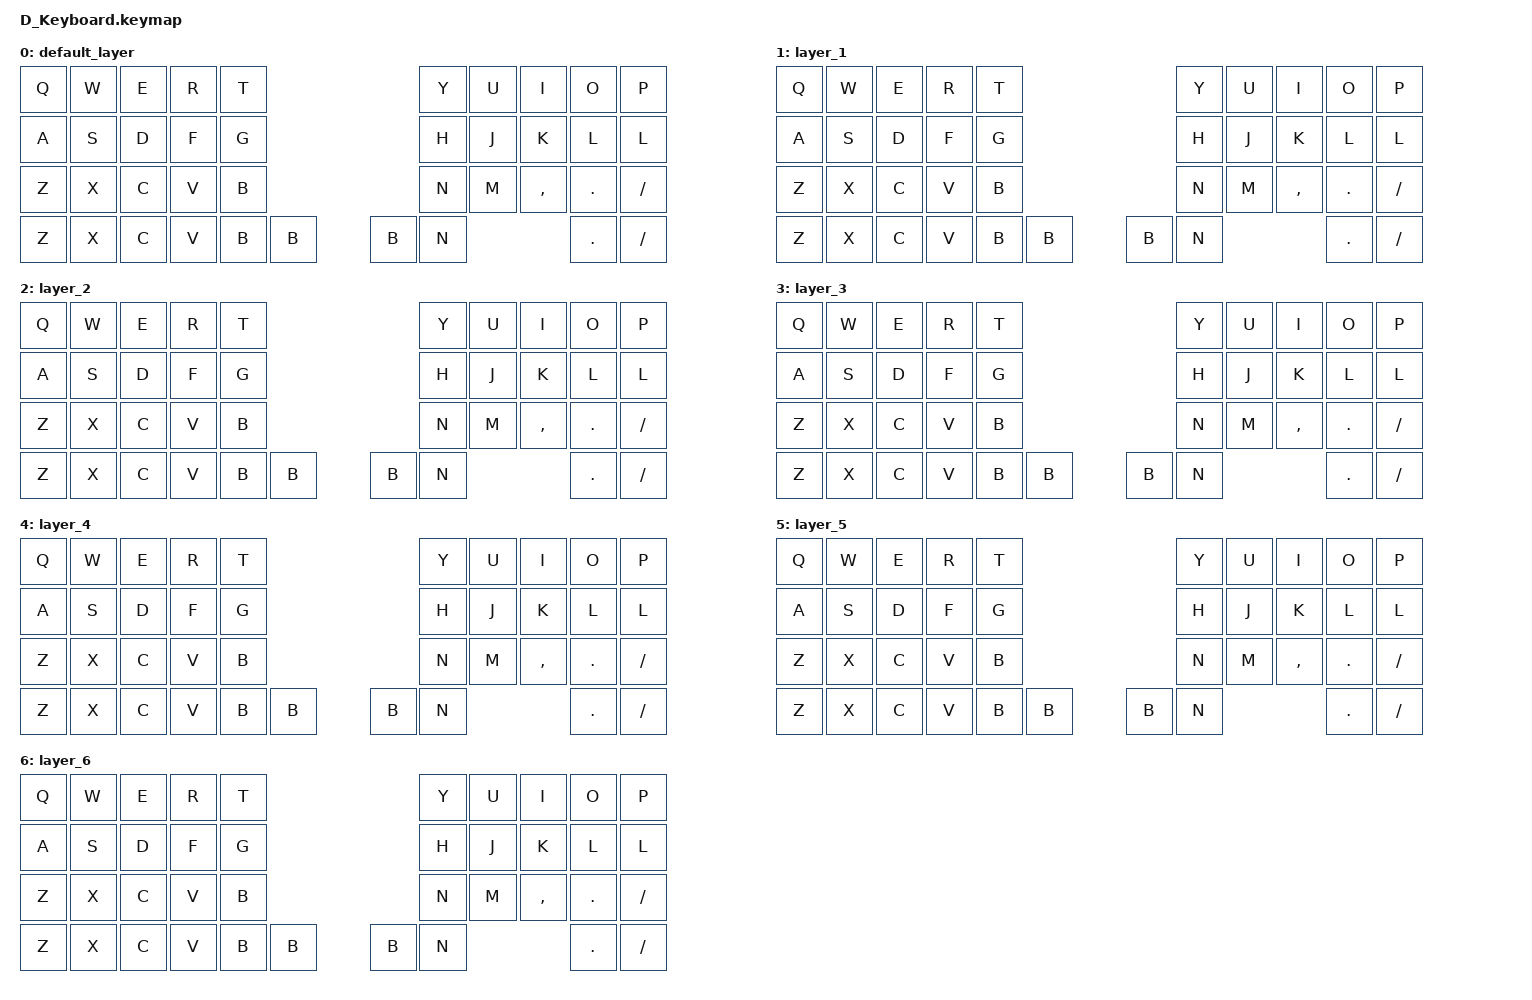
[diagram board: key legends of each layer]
#include <input/processors.dtsi>
#include <dt-bindings/zmk/input_transform.h>
#include <zephyr/dt-bindings/input/input-event-codes.h>
#include <behaviors.dtsi>
#include <dt-bindings/zmk/bt.h>
#include <dt-bindings/zmk/keys.h>
#include <dt-bindings/zmk/pointing.h>

#define ZMK_POINTING_DEFAULT_SCRL_VAL 100
#define MOUSE 5

&mt {
    flavor = "balanced";
    quick-tap-ms = <0>;
};

/ {
    combos {
        compatible = "zmk,combos";

        double_quotation {
            bindings = <&kp DOUBLE_QUOTES>;
            key-positions = <22 21>;
        };

        single_quotation {
            bindings = <&kp SINGLE_QUOTE>;
            key-positions = <21 20>;
        };
    };

    macros {
        to_layer_0: to_layer_0 {
            compatible = "zmk,behavior-macro-one-param";
            #binding-cells = <1>;
            bindings = <&to 0 &macro_param_1to1 &kp MACRO_PLACEHOLDER>;
            label = "TO_LAYER_0";
        };
    };

    behaviors {
        lt_to_layer_0: lt_to_layer_0 {
            compatible = "zmk,behavior-hold-tap";
            label = "LAYER_TAP_TO_0";
            bindings = <&mo>, <&to_layer_0>;

            #binding-cells = <2>;
            tapping-term-ms = <200>;
        };
    };

    keymap {
        compatible = "zmk,keymap";

        default_layer {
            bindings = <
&kp Q   &kp W   &kp E   &kp R   &kp T                   &kp Y   &kp U   &kp I       &kp O   &kp P
&kp A   &kp S   &kp D   &kp F   &kp G                   &kp H   &kp J   &kp K       &kp L   &kp L
&kp Z   &kp X   &kp C   &kp V   &kp B                   &kp N   &kp M   &kp COMMA   &kp DOT &kp SLASH
&kp Z   &kp X   &kp C   &kp V   &kp B   &kp B   &kp B   &kp N                       &kp DOT &kp SLASH
            >;
        };

        layer_1 {
            bindings = <
&kp Q   &kp W   &kp E   &kp R   &kp T                   &kp Y   &kp U   &kp I       &kp O   &kp P
&kp A   &kp S   &kp D   &kp F   &kp G                   &kp H   &kp J   &kp K       &kp L   &kp L
&kp Z   &kp X   &kp C   &kp V   &kp B                   &kp N   &kp M   &kp COMMA   &kp DOT &kp SLASH
&kp Z   &kp X   &kp C   &kp V   &kp B   &kp B   &kp B   &kp N                       &kp DOT &kp SLASH

            >;
        };

        layer_2 {
            bindings = <
&kp Q   &kp W   &kp E   &kp R   &kp T                   &kp Y   &kp U   &kp I       &kp O   &kp P
&kp A   &kp S   &kp D   &kp F   &kp G                   &kp H   &kp J   &kp K       &kp L   &kp L
&kp Z   &kp X   &kp C   &kp V   &kp B                   &kp N   &kp M   &kp COMMA   &kp DOT &kp SLASH
&kp Z   &kp X   &kp C   &kp V   &kp B   &kp B   &kp B   &kp N                       &kp DOT &kp SLASH
            >;
        };

        layer_3 {
            bindings = <
&kp Q   &kp W   &kp E   &kp R   &kp T                   &kp Y   &kp U   &kp I       &kp O   &kp P
&kp A   &kp S   &kp D   &kp F   &kp G                   &kp H   &kp J   &kp K       &kp L   &kp L
&kp Z   &kp X   &kp C   &kp V   &kp B                   &kp N   &kp M   &kp COMMA   &kp DOT &kp SLASH
&kp Z   &kp X   &kp C   &kp V   &kp B   &kp B   &kp B   &kp N                       &kp DOT &kp SLASH
            >;
        };

        layer_4 {
            bindings = <
&kp Q   &kp W   &kp E   &kp R   &kp T                   &kp Y   &kp U   &kp I       &kp O   &kp P
&kp A   &kp S   &kp D   &kp F   &kp G                   &kp H   &kp J   &kp K       &kp L   &kp L
&kp Z   &kp X   &kp C   &kp V   &kp B                   &kp N   &kp M   &kp COMMA   &kp DOT &kp SLASH
&kp Z   &kp X   &kp C   &kp V   &kp B   &kp B   &kp B   &kp N                       &kp DOT &kp SLASH
            >;
        };

        layer_5 {
            bindings = <
&kp Q   &kp W   &kp E   &kp R   &kp T                   &kp Y   &kp U   &kp I       &kp O   &kp P
&kp A   &kp S   &kp D   &kp F   &kp G                   &kp H   &kp J   &kp K       &kp L   &kp L
&kp Z   &kp X   &kp C   &kp V   &kp B                   &kp N   &kp M   &kp COMMA   &kp DOT &kp SLASH
&kp Z   &kp X   &kp C   &kp V   &kp B   &kp B   &kp B   &kp N                       &kp DOT &kp SLASH
            >;
        };

        layer_6 {
            bindings = <
&kp Q   &kp W   &kp E   &kp R   &kp T                   &kp Y   &kp U   &kp I       &kp O   &kp P
&kp A   &kp S   &kp D   &kp F   &kp G                   &kp H   &kp J   &kp K       &kp L   &kp L
&kp Z   &kp X   &kp C   &kp V   &kp B                   &kp N   &kp M   &kp COMMA   &kp DOT &kp SLASH
&kp Z   &kp X   &kp C   &kp V   &kp B   &kp B   &kp B   &kp N                       &kp DOT &kp SLASH
            >;
        };
    };

    // //right hand trackball overrides
    // &trackball_peripheral_listener {
    //     input-processors =
    //         <&zip_xy_transform INPUT_TRANSFORM_XY_SWAP>,//this gets it to the default installation orientation
    //         <&zip_temp_layer 3 500>;//activate layer 3 within 500ms of the trackball moving
    // };
    // //left hand trackball overrides
    // &trackball_central_listener {
    //     input-processors = 
    //         <&zip_xy_transform INPUT_TRANSFORM_XY_SWAP>,//this gets it to the default installation orientation
    //         <&zip_xy_scaler 1 3>,//multiply sensitivity by 1, divide by 3 (make it slower for scrolling)
    //         <&zip_xy_to_scroll_mapper>,//make this trackball output scrolling events by default instead of cursor movement
    //         <&zip_scroll_transform INPUT_TRANSFORM_Y_INVERT>;//invert vertical scrolling so that the view moves in the same direction as the top of the trackball.
    // };
};
